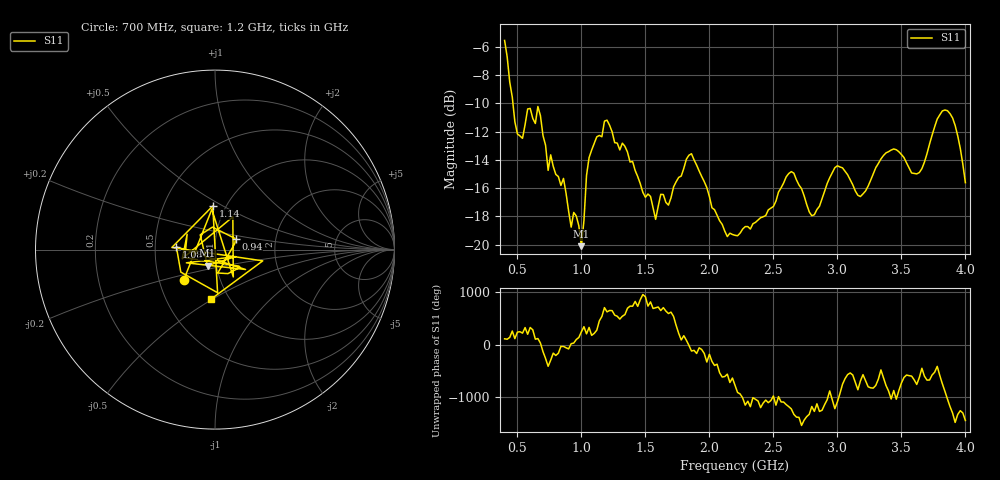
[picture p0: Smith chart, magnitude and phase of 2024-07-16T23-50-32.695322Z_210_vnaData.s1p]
!Created with skrf (http://scikit-rf.org).
# Hz S RI R 50.0
!freq ReS11 ImS11
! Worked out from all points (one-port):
!   181 points, 400 MHz to 4 GHz, reference 50 ohm
!   lowest |S11| = -20.1 dB at 1 GHz (marker M1), VSWR 1.22, Z = 45.3 - j8.18 ohm
!   |S11| at or under -10 dB: 465 MHz to end of sweep
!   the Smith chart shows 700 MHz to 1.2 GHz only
!   S11 on the Smith chart (normalised r, x): 700 MHz: 0.67, -0.24; 940 MHz: 1.25, +0.15; 1.08 GHz: 0.65, +0.02; 1.14 GHz: 0.87, +0.45; 1.2 GHz: 0.83, -0.49
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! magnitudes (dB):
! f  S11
! 400 MHz  -5.6
! 500 MHz  -12.2
! 660 MHz  -10.2
! 700 MHz  -12.3
! 740 MHz  -14.7
! 860 MHz  -15.3
! 920 MHz  -18.8
! 940 MHz  -17.7
! 1 GHz  -20.1
! 1.04 GHz  -15.1
! 1.08 GHz  -13.3
! 1.14 GHz  -12.3
! 1.2 GHz  -11.2
! 1.3 GHz  -13.3
! 1.58 GHz  -18.2
! 1.76 GHz  -15.2
! 1.86 GHz  -13.6
! 2.2 GHz  -19.3
! 2.66 GHz  -15.0
! 2.8 GHz  -18.0
! 2.98 GHz  -14.6
! 3.1 GHz  -15.4
! 3.18 GHz  -16.6
! 3.44 GHz  -13.2
! 3.56 GHz  -14.6
! 3.66 GHz  -14.6
! 3.84 GHz  -10.5
! 4 GHz  -15.6
